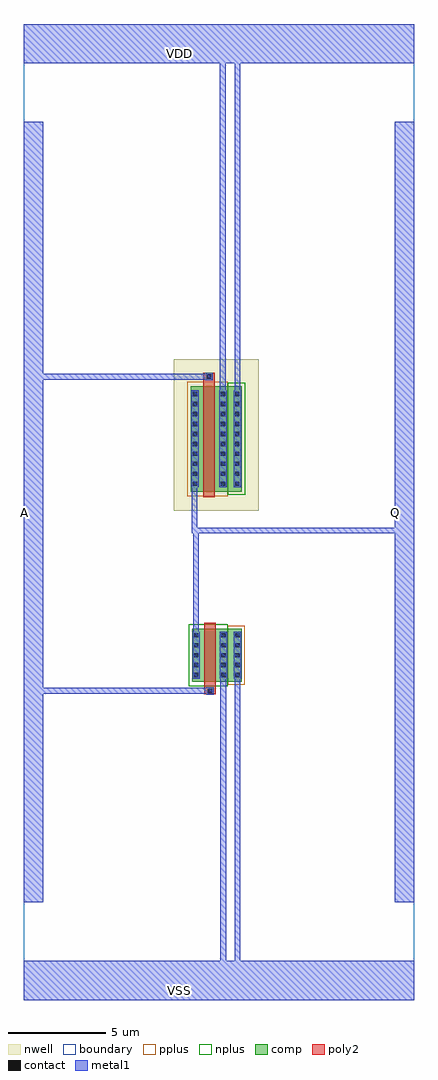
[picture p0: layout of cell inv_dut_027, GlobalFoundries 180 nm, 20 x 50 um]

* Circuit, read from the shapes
.subckt inv_dut_027 A Q VDD VSS
XM1 VSS A Q VSS nfet_03v3 w=2.7u l=0.6u
XM2 VDD A Q VDD pfet_03v3 w=5.4u l=0.6u
.ends

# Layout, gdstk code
import gdstk
lib = gdstk.Library(unit=1e-6, precision=1e-09)
def R(c, l, rs):  # rectangles x0, y0, x1, y1
    for r in rs: c.add(gdstk.rectangle(r[:2], r[2:], *l))
def A(c, l, x, y, w, h, nx, ny, dx, dy):  # array of equal rectangles
    R(c, l, [(x+i*dx, y+j*dy, x+i*dx+w, y+j*dy+h) for i in range(nx) for j in range(ny)])
boundary = (0, 0)
nwell = (21, 0)
comp = (22, 0)
poly2 = (30, 0)
pplus = (31, 0)
nplus = (32, 0)
contact = (33, 0)
metal1 = (34, 0)

pfet = lib.new_cell('pfet')
R(pfet, nwell, [(-1.32,-0.99,3.03,6.77)])
R(pfet, comp, [(-0.46,0,2.17,5.4)])
R(pfet, poly2, [(0.19,-0.3,0.79,6.08)])
R(pfet, pplus, [(-0.63,-0.24,1.44,5.64)])
R(pfet, nplus, [(1.44,-0.17,2.34,5.57)])
A(pfet, contact, -0.34, 0.295, 0.22, 0.22, 1, 10, 0, 0.51)
A(pfet, contact, 1.1, 0.295, 0.22, 0.22, 1, 10, 0, 0.51)
A(pfet, contact, 1.83, 0.295, 0.22, 0.22, 1, 10, 0, 0.51)
R(pfet, contact, [(0.38,5.78,0.6,6)])
R(pfet, metal1, [(-0.42,0.215,-0.04,5.185), (1.02,0.215,1.4,5.185), (1.75,0.215,2.13,5.185), (0.3,5.7,0.68,6.08)])

nfet = lib.new_cell('nfet')
R(nfet, comp, [(-0.42,0,2.11,2.7)])
R(nfet, poly2, [(0.19,-0.66,0.79,3)])
R(nfet, pplus, [(1.4,-0.17,2.28,2.87)])
R(nfet, nplus, [(-0.59,-0.24,1.4,2.94)])
A(nfet, contact, -0.32, 0.22, 0.22, 0.22, 1, 5, 0, 0.51)
A(nfet, contact, 1.08, 0.22, 0.22, 0.22, 1, 5, 0, 0.51)
A(nfet, contact, 1.79, 0.22, 0.22, 0.22, 1, 5, 0, 0.51)
R(nfet, contact, [(0.38,-0.59,0.6,-0.37)])
R(nfet, metal1, [(0.3,-0.67,0.68,-0.29), (-0.4,0.14,-0.02,2.56), (1,0.14,1.38,2.56), (1.71,0.14,2.09,2.56)])

inv_dut_027 = lib.new_cell('inv_dut_027')
R(inv_dut_027, boundary, [(-10,-25,10,25)])
R(inv_dut_027, metal1, [(-10,-25,10,-23), (-10,-20,-9,20), (9,-20,10,20), (-10,23,10,25)])
inv_dut_027.add(gdstk.FlexPath([(-0.53,6.93),(-9.515,6.93)], 0.3, ends="flush", simple_path=True, layer=34, datatype=0))  # metal1
inv_dut_027.add(gdstk.FlexPath([(0.195,6.055),(0.195,23.77)], 0.3, ends="flush", simple_path=True, layer=34, datatype=0))  # metal1
inv_dut_027.add(gdstk.FlexPath([(0.95,6.025),(0.95,23.77)], 0.3, ends="flush", simple_path=True, layer=34, datatype=0))  # metal1
inv_dut_027.add(gdstk.FlexPath([(-1.255,1.455),(-1.255,-0.945),(9.295,-0.945)], 0.3, ends="flush", simple_path=True, layer=34, datatype=0))  # metal1
inv_dut_027.add(gdstk.FlexPath([(0.95,-8.28),(0.95,-23.585)], 0.3, ends="flush", simple_path=True, layer=34, datatype=0))  # metal1
inv_dut_027.add(gdstk.FlexPath([(-0.49,-9.15),(-9.33,-9.15)], 0.3, ends="flush", simple_path=True, layer=34, datatype=0))  # metal1
inv_dut_027.add(gdstk.FlexPath([(0.22,-8.275),(0.22,-23.81)], 0.3, ends="flush", simple_path=True, layer=34, datatype=0))  # metal1
inv_dut_027.add(gdstk.FlexPath([(-1.18,-6.31),(-1.18,-0.835)], 0.3, ends="flush", simple_path=True, layer=34, datatype=0))  # metal1
inv_dut_027.add(gdstk.Reference(pfet, (-1,1.045)))
inv_dut_027.add(gdstk.Reference(nfet, (-0.955,-8.685)))
inv_dut_027.add(gdstk.Label('VDD', (-2,23.5), layer=34, texttype=10))
inv_dut_027.add(gdstk.Label('VSS', (-2,-24.5), layer=34, texttype=10))
inv_dut_027.add(gdstk.Label('A', (-9.97,0), layer=34, texttype=10))
inv_dut_027.add(gdstk.Label('Q', (9.03,0), layer=34, texttype=10))

lib.write_gds('inv_dut_027.gds')
